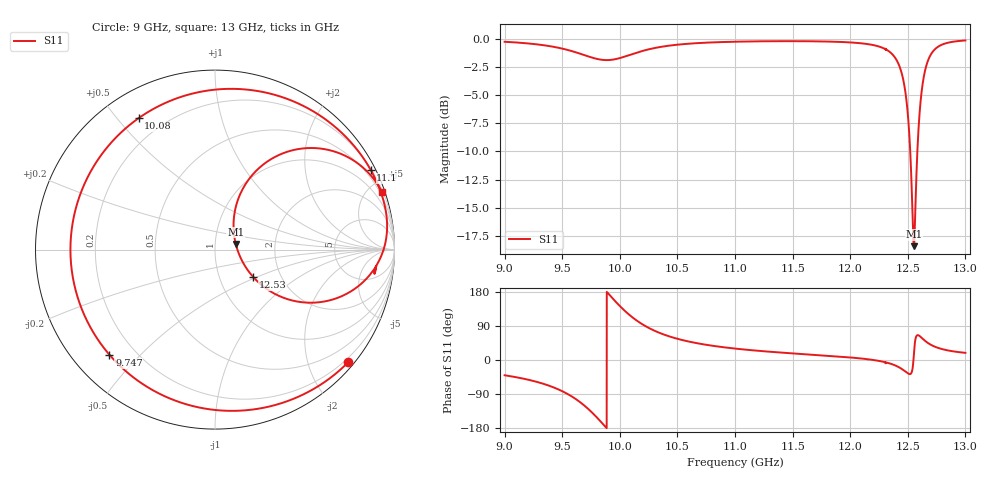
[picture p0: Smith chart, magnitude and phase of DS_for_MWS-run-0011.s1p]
! TOUCHSTONE file generated by CST DESIGN STUDIO
! Date and time: Tue Feb  4 17:58:55 2025
! Project name: C:\Work\MatlabApps\UnitCellOptimizationMatlab\CST\unitcell.cst
! Tree item: Tasks\Sweep1\SPara1\S-Parameters
! Header version: 2024
! Port assignment regex: !\s*Touchstone port\s*([0-9]+)\s*=\s*(CST MWS port|CST DES external port|CST DES block port)\s*(.+)\s* \(\"(.*)\"\)(\s*mode\s*([0-9]+))?.*
! Touchstone port assignment:
! Touchstone port 1 = CST DES external port 1 ("")
# GHz S MA R 50
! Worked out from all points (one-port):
!   4001 points, 9 GHz to 13 GHz, reference 50 ohm
!   lowest |S11| = -18.4 dB at 12.55 GHz (marker M1), VSWR 1.27, Z = 62.9 + j4.02 ohm
!   |S11| at or under -10 dB: 12.52113 GHz to 12.58302 GHz (61.9 MHz wide, 0.493 % of centre)
!   S11 on the Smith chart (normalised r, x): 9 GHz: 0.12, -2.72; 9.747 GHz: 0.11, -0.41; 10.08 GHz: 0.11, +0.57; 11.1 GHz: 0.23, +4.13; 12.53 GHz: 1.45, -0.48; 13 GHz: 0.28, +6.01
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9  0.9718 -40.3
9.281  0.9463 -57.8
9.5  0.9063 -82.3
9.635  0.867 -106.7
9.747  0.83 -135.1
9.876  0.8057 -176.5
10  0.8224 142.5
10.079  0.847 120.1
10.238  0.8962 86.8
10.362  0.9233 69.5
10.5  0.9432 56.0
10.715  0.961 41.9
11  0.9723 30.1
11.097  0.9745 27.1
11.5  0.9778 17.4
12  0.9654 6.7
12.352  0.8685 -9.9
12.433  0.7435 -20.8
12.5  0.4647 -35.2
12.528  0.2629 -35.7
12.542  0.1593 -21.3
12.553  0.1199 15.2
12.565  0.1707 52.8
12.608  0.5075 62.0
12.663  0.7678 47.5
12.716  0.8772 37.7
12.782  0.936 30.1
13  0.9849 18.9
